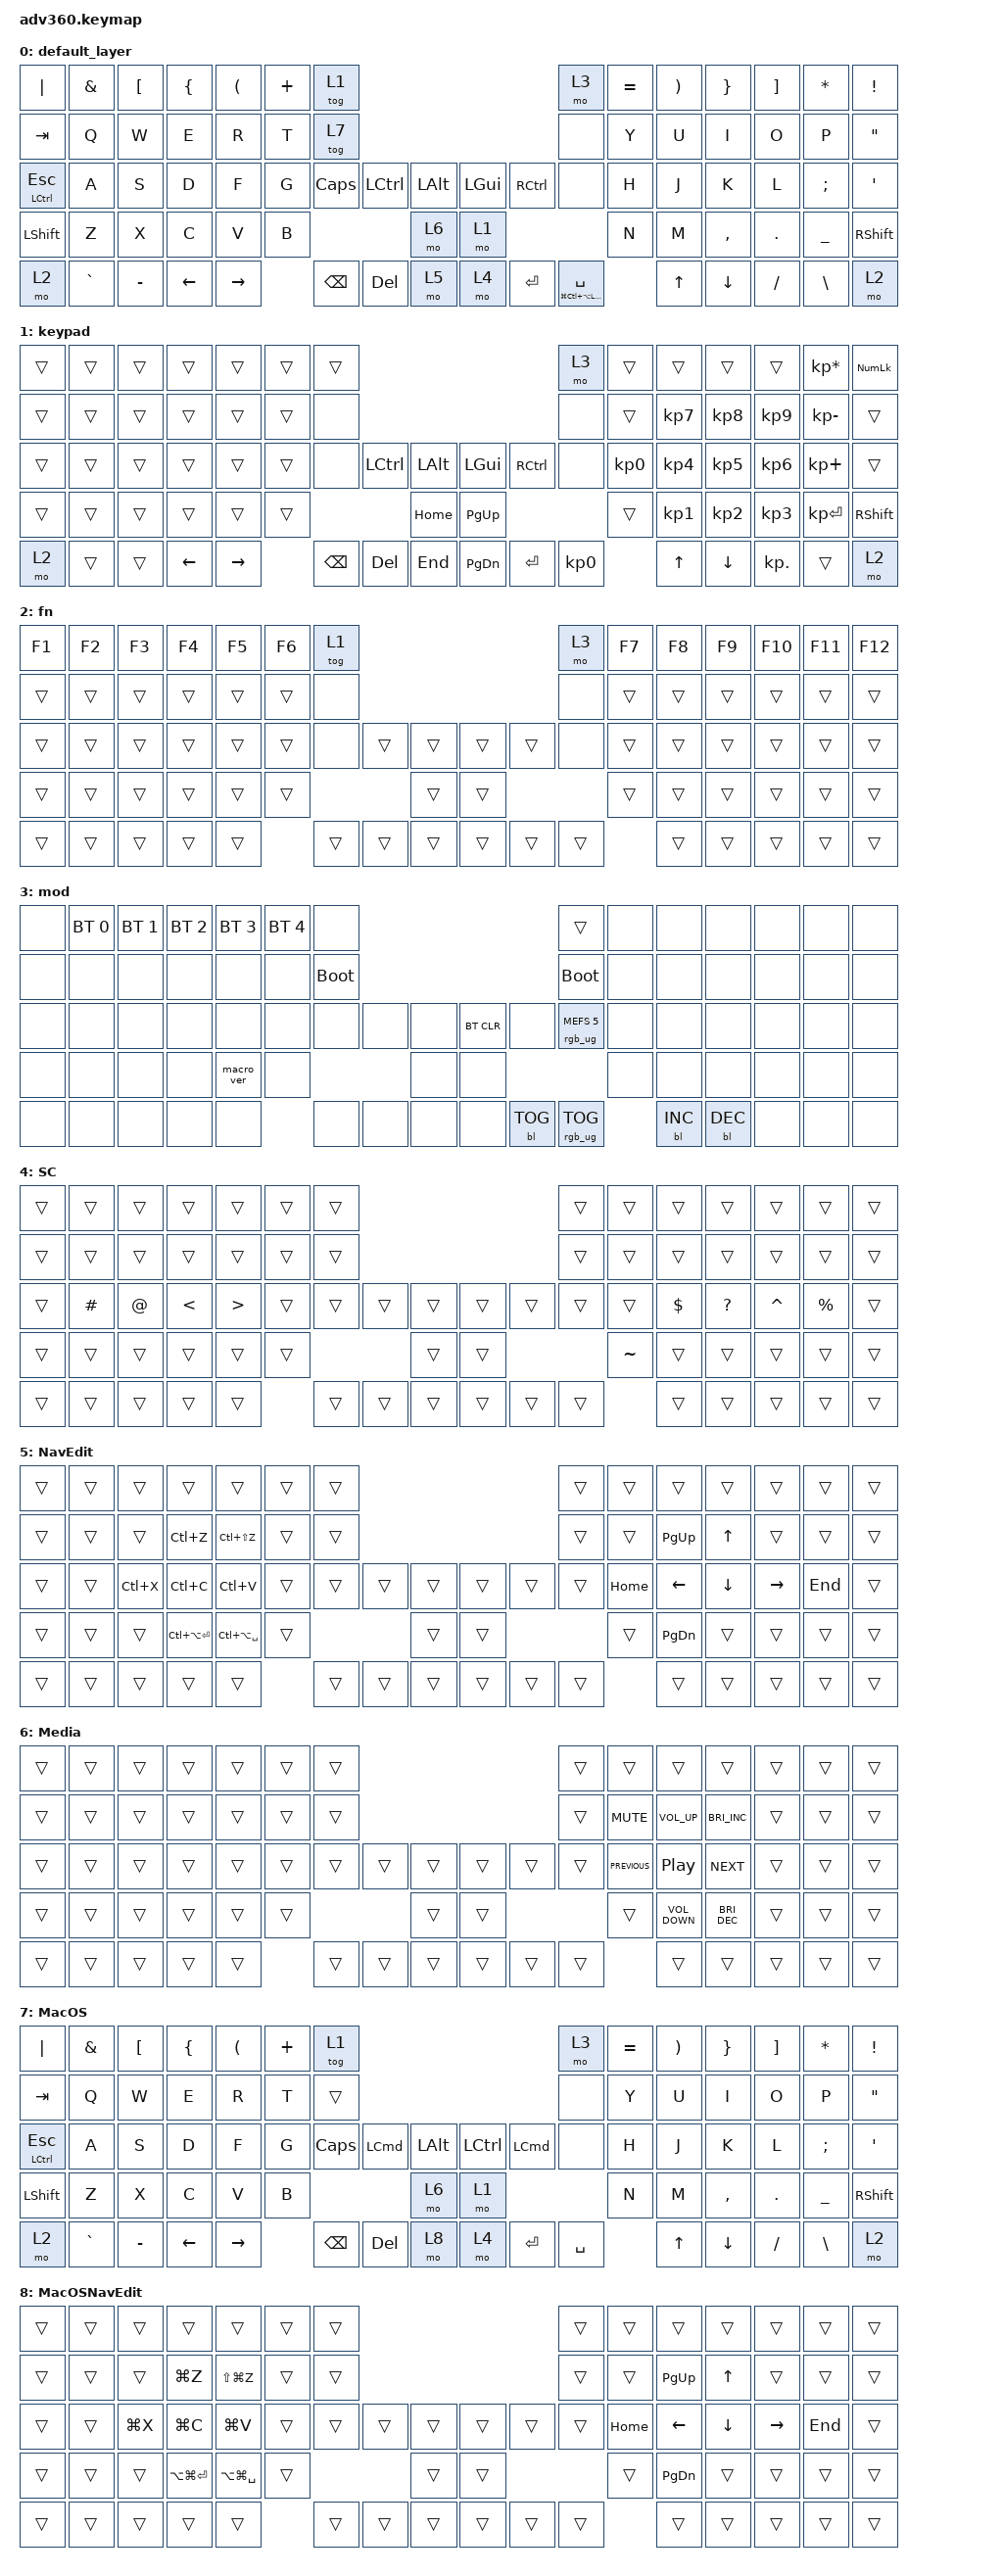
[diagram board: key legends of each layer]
#include <behaviors.dtsi>
#include <dt-bindings/zmk/backlight.h>
#include <dt-bindings/zmk/bt.h>
#include <dt-bindings/zmk/keys.h>
#include <dt-bindings/zmk/rgb.h>

/ {
    behaviors {
        #include "macros.dtsi"
      #include "version.dtsi"
      #ifndef VERSION_MACRO

        macro_ver: macro_ver {
            compatible = "zmk,behavior-macro";
            label = "macro_version";
            #binding-cells = <0>;
            bindings = <&kp RET>;
        };

        #endif

        hm: homerow_mods {
            compatible = "zmk,behavior-hold-tap";
            label = "HOMEROW_MODS";
            #binding-cells = <2>;
            tapping-term-ms = <200>;
            quick_tap_ms = <175>;
            flavor = "tap-preferred";
            bindings = <&kp>, <&kp>;
        };
    };

    macros {
    };

    keymap {
        compatible = "zmk,keymap";

        default_layer {
            bindings = <
&kp PIPE              &kp AMPERSAND  &kp LEFT_BRACKET  &kp LEFT_BRACE  &kp LEFT_PARENTHESIS  &kp PLUS  &tog 1                                                      &mo 3                             &kp EQUAL  &kp RIGHT_PARENTHESIS  &kp RIGHT_BRACE  &kp RIGHT_BRACKET  &kp ASTRK      &kp EXCLAMATION
&kp TAB               &kp Q          &kp W             &kp E           &kp R                 &kp T     &tog 7                                                      &none                             &kp Y      &kp U                  &kp I            &kp O              &kp P          &kp DOUBLE_QUOTES
&mt LEFT_CONTROL ESC  &kp A          &kp S             &kp D           &kp F                 &kp G     &kp CAPSLOCK  &kp LCTRL  &kp LALT      &kp LGUI  &kp RCTRL  &none                             &kp H      &kp J                  &kp K            &kp L              &kp SEMI       &kp SQT
&kp LSHFT             &kp Z          &kp X             &kp C           &kp V                 &kp B                              &mo 6         &mo 1                                                  &kp N      &kp M                  &kp COMMA        &kp DOT            &kp UNDER      &kp RSHFT
&mo 2                 &kp GRAVE      &kp MINUS         &kp LEFT        &kp RIGHT                       &kp BSPC      &kp DEL    &mo 5         &mo 4     &kp ENTER  &mt LG(LC(LA(LEFT_SHIFT))) SPACE             &kp UP                 &kp DOWN         &kp SLASH          &kp BACKSLASH  &mo 2
            >;
        };

        keypad {
            bindings = <
&trans  &trans  &trans  &trans    &trans     &trans  &trans                                                   &mo 3      &trans     &trans     &trans     &trans      &kp KP_MULTIPLY  &kp KP_NUM
&trans  &trans  &trans  &trans    &trans     &trans  &none                                                    &none      &trans     &kp KP_N7  &kp KP_N8  &kp KP_N9   &kp KP_MINUS     &trans
&trans  &trans  &trans  &trans    &trans     &trans  &none     &kp LCTRL  &kp LALT      &kp LGUI   &kp RCTRL  &none      &kp KP_N0  &kp KP_N4  &kp KP_N5  &kp KP_N6   &kp KP_PLUS      &trans
&trans  &trans  &trans  &trans    &trans     &trans                       &kp HOME      &kp PG_UP                        &trans     &kp KP_N1  &kp KP_N2  &kp KP_N3   &kp KP_ENTER     &kp RSHFT
&mo 2   &trans  &trans  &kp LEFT  &kp RIGHT          &kp BSPC  &kp DEL    &kp END       &kp PG_DN  &kp ENTER  &kp KP_N0             &kp UP     &kp DOWN   &kp KP_DOT  &trans           &mo 2
            >;
        };

        fn {
            bindings = <
&kp F1  &kp F2  &kp F3  &kp F4  &kp F5  &kp F6  &tog 1                                      &mo 3   &kp F7  &kp F8  &kp F9  &kp F10  &kp F11  &kp F12
&trans  &trans  &trans  &trans  &trans  &trans  &none                                       &none   &trans  &trans  &trans  &trans   &trans   &trans
&trans  &trans  &trans  &trans  &trans  &trans  &none   &trans  &trans      &trans  &trans  &none   &trans  &trans  &trans  &trans   &trans   &trans
&trans  &trans  &trans  &trans  &trans  &trans                  &trans      &trans                  &trans  &trans  &trans  &trans   &trans   &trans
&trans  &trans  &trans  &trans  &trans          &trans  &trans  &trans      &trans  &trans  &trans          &trans  &trans  &trans   &trans   &trans
            >;
        };

        mod {
            bindings = <
&none  &bt BT_SEL 0  &bt BT_SEL 1  &bt BT_SEL 2  &bt BT_SEL 3  &bt BT_SEL 4  &none                                                  &trans                  &none  &none       &none       &none  &none  &none
&none  &none         &none         &none         &none         &none         &bootloader                                            &bootloader             &none  &none       &none       &none  &none  &none
&none  &none         &none         &none         &none         &none         &none        &none  &none      &bt BT_CLR  &none       &rgb_ug RGB_MEFS_CMD 5  &none  &none       &none       &none  &none  &none
&none  &none         &none         &none         &macro_ver    &none                             &none      &none                                           &none  &none       &none       &none  &none  &none
&none  &none         &none         &none         &none                       &none        &none  &none      &none       &bl BL_TOG  &rgb_ug RGB_TOG                &bl BL_INC  &bl BL_DEC  &none  &none  &none
            >;
        };

        SC {
            bindings = <
&trans  &trans    &trans       &trans         &trans            &trans  &trans                                      &trans  &trans     &trans      &trans     &trans     &trans       &trans
&trans  &trans    &trans       &trans         &trans            &trans  &trans                                      &trans  &trans     &trans      &trans     &trans     &trans       &trans
&trans  &kp HASH  &kp AT_SIGN  &kp LESS_THAN  &kp GREATER_THAN  &trans  &trans  &trans  &trans      &trans  &trans  &trans  &trans     &kp DOLLAR  &kp QMARK  &kp CARET  &kp PERCENT  &trans
&trans  &trans    &trans       &trans         &trans            &trans                  &trans      &trans                  &kp TILDE  &trans      &trans     &trans     &trans       &trans
&trans  &trans    &trans       &trans         &trans                    &trans  &trans  &trans      &trans  &trans  &trans             &trans      &trans     &trans     &trans       &trans
            >;
        };

        NavEdit {
            bindings = <
&trans  &trans  &trans     &trans             &trans             &trans  &trans                                      &trans  &trans    &trans          &trans          &trans           &trans   &trans
&trans  &trans  &trans     &kp LC(Z)          &kp LC(LS(Z))      &trans  &trans                                      &trans  &trans    &kp PAGE_UP     &kp UP_ARROW    &trans           &trans   &trans
&trans  &trans  &kp LC(X)  &kp LC(C)          &kp LC(V)          &trans  &trans  &trans  &trans      &trans  &trans  &trans  &kp HOME  &kp LEFT_ARROW  &kp DOWN_ARROW  &kp RIGHT_ARROW  &kp END  &trans
&trans  &trans  &trans     &kp LC(LA(ENTER))  &kp LC(LA(SPACE))  &trans                  &trans      &trans                  &trans    &kp PAGE_DOWN   &trans          &trans           &trans   &trans
&trans  &trans  &trans     &trans             &trans                     &trans  &trans  &trans      &trans  &trans  &trans            &trans          &trans          &trans           &trans   &trans
            >;
        };

        Media {
            bindings = <
&trans  &trans  &trans  &trans  &trans  &trans  &trans                                      &trans  &trans          &trans             &trans                &trans  &trans  &trans
&trans  &trans  &trans  &trans  &trans  &trans  &trans                                      &trans  &kp C_MUTE      &kp C_VOLUME_UP    &kp C_BRIGHTNESS_INC  &trans  &trans  &trans
&trans  &trans  &trans  &trans  &trans  &trans  &trans  &trans  &trans      &trans  &trans  &trans  &kp C_PREVIOUS  &kp C_PLAY_PAUSE   &kp C_NEXT            &trans  &trans  &trans
&trans  &trans  &trans  &trans  &trans  &trans                  &trans      &trans                  &trans          &kp C_VOLUME_DOWN  &kp C_BRIGHTNESS_DEC  &trans  &trans  &trans
&trans  &trans  &trans  &trans  &trans          &trans  &trans  &trans      &trans  &trans  &trans                  &trans             &trans                &trans  &trans  &trans
            >;
        };

        MacOS {
            bindings = <
&kp PIPE              &kp AMPERSAND  &kp LEFT_BRACKET  &kp LEFT_BRACE  &kp LEFT_PARENTHESIS  &kp PLUS  &tog 1                                                             &mo 3      &kp EQUAL  &kp RIGHT_PARENTHESIS  &kp RIGHT_BRACE  &kp RIGHT_BRACKET  &kp ASTRK      &kp EXCLAMATION
&kp TAB               &kp Q          &kp W             &kp E           &kp R                 &kp T     &trans                                                             &none      &kp Y      &kp U                  &kp I            &kp O              &kp P          &kp DOUBLE_QUOTES
&mt LEFT_CONTROL ESC  &kp A          &kp S             &kp D           &kp F                 &kp G     &kp CAPSLOCK  &kp LCMD  &kp LALT      &kp LEFT_CONTROL  &kp LCMD   &none      &kp H      &kp J                  &kp K            &kp L              &kp SEMI       &kp SQT
&kp LSHFT             &kp Z          &kp X             &kp C           &kp V                 &kp B                             &mo 6         &mo 1                                   &kp N      &kp M                  &kp COMMA        &kp DOT            &kp UNDER      &kp RSHFT
&mo 2                 &kp GRAVE      &kp MINUS         &kp LEFT        &kp RIGHT                       &kp BSPC      &kp DEL   &mo 8         &mo 4             &kp ENTER  &kp SPACE             &kp UP                 &kp DOWN         &kp SLASH          &kp BACKSLASH  &mo 2
            >;
        };

        MacOSNavEdit {
            bindings = <
&trans  &trans  &trans     &trans             &trans             &trans  &trans                                      &trans  &trans    &trans          &trans          &trans           &trans   &trans
&trans  &trans  &trans     &kp LG(Z)          &kp LS(LG(Z))      &trans  &trans                                      &trans  &trans    &kp PAGE_UP     &kp UP_ARROW    &trans           &trans   &trans
&trans  &trans  &kp LG(X)  &kp LG(C)          &kp LG(V)          &trans  &trans  &trans  &trans      &trans  &trans  &trans  &kp HOME  &kp LEFT_ARROW  &kp DOWN_ARROW  &kp RIGHT_ARROW  &kp END  &trans
&trans  &trans  &trans     &kp LA(LG(ENTER))  &kp LA(LG(SPACE))  &trans                  &trans      &trans                  &trans    &kp PAGE_DOWN   &trans          &trans           &trans   &trans
&trans  &trans  &trans     &trans             &trans                     &trans  &trans  &trans      &trans  &trans  &trans            &trans          &trans          &trans           &trans   &trans
            >;
        };
    };
};
